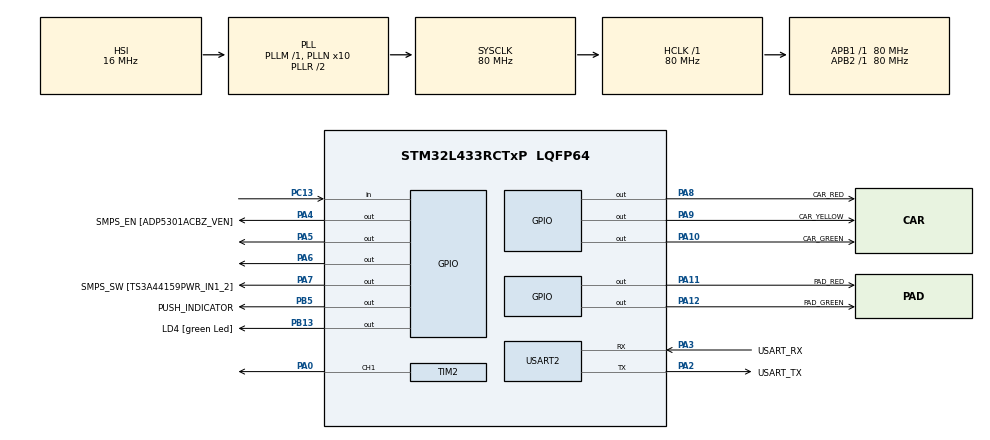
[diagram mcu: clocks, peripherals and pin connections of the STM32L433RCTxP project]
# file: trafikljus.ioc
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Mcu.Family=STM32L4
Mcu.Name=STM32L433RCTxP
Mcu.Package=LQFP64
NVIC.PriorityGroup=NVIC_PRIORITYGROUP_4
PA0.Signal=S_TIM2_CH1
PA10.GPIO_Label=CAR_GREEN
PA10.Signal=GPIO_Output
PA11.GPIO_Label=PAD_RED
PA11.Signal=GPIO_Output
PA12.GPIO_Label=PAD_GREEN
PA12.Signal=GPIO_Output
PA13\ (JTMS-SWDIO).GPIO_Label=TMS
PA13\ (JTMS-SWDIO).Mode=Serial_Wire
PA13\ (JTMS-SWDIO).Signal=SYS_JTMS-SWDIO
PA14\ (JTCK-SWCLK).GPIO_Label=TCK
PA14\ (JTCK-SWCLK).Mode=Serial_Wire
PA14\ (JTCK-SWCLK).Signal=SYS_JTCK-SWCLK
PA2.GPIO_Label=USART_TX
PA2.GPIO_Mode=GPIO_MODE_AF_PP
PA2.GPIO_PuPd=GPIO_NOPULL
PA2.GPIO_Speed=GPIO_SPEED_FREQ_VERY_HIGH
PA2.Mode=Asynchronous
PA2.Signal=USART2_TX
PA3.GPIO_Label=USART_RX
PA3.GPIO_Mode=GPIO_MODE_AF_PP
PA3.GPIO_PuPd=GPIO_NOPULL
PA3.GPIO_Speed=GPIO_SPEED_FREQ_VERY_HIGH
PA3.Mode=Asynchronous
PA3.Signal=USART2_RX
PA4.GPIO_Label=SMPS_EN [ADP5301ACBZ_VEN]
PA4.Signal=GPIO_Output
PA5.GPIO_ModeDefaultOutputPP=GPIO_MODE_OUTPUT_PP
PA5.GPIO_PuPd=GPIO_NOPULL
PA5.GPIO_Speed=GPIO_SPEED_FREQ_LOW
PA5.Signal=GPIO_Output
PA6.Signal=GPIO_Output
PA7.GPIO_Label=SMPS_SW [TS3A44159PWR_IN1_2]
PA7.Signal=GPIO_Output
PA8.GPIO_Label=CAR_RED
PA8.Signal=GPIO_Output
PA9.GPIO_Label=CAR_YELLOW
PA9.Signal=GPIO_Output
PB13.GPIO_Label=LD4 [green Led]
PB13.Signal=GPIO_Output
PB3\ (JTDO-TRACESWO).GPIO_Label=SWO
PB3\ (JTDO-TRACESWO).Signal=SYS_JTDO-SWO
PB5.GPIO_Label=PUSH_INDICATOR
PB5.Signal=GPIO_Output
PC13.Signal=GPIO_Input
PC14-OSC32_IN\ (PC14).Mode=LSE-External-Oscillator
PC14-OSC32_IN\ (PC14).Signal=RCC_OSC32_IN
PC15-OSC32_OUT\ (PC15).Mode=LSE-External-Oscillator
PC15-OSC32_OUT\ (PC15).Signal=RCC_OSC32_OUT
PH0-OSC_IN\ (PH0).GPIO_Label=MCO
PH0-OSC_IN\ (PH0).Mode=HSE-External-Clock-Source
PH0-OSC_IN\ (PH0).Signal=RCC_OSC_IN
PH1-OSC_OUT\ (PH1).Signal=RCC_OSC_OUT
ProjectManager.HeapSize=0x200
ProjectManager.StackSize=0x400
ProjectManager.TargetToolchain=STM32CubeIDE
RCC.ADCFreq_Value=64000000
RCC.AHBFreq_Value=80000000
RCC.APB1Freq_Value=80000000
RCC.APB1TimFreq_Value=80000000
RCC.APB2Freq_Value=80000000
RCC.APB2TimFreq_Value=80000000
RCC.CortexFreq_Value=80000000
RCC.HCLKFreq_Value=80000000
RCC.HSE_VALUE=8000000
RCC.HSI48_VALUE=48000000
RCC.HSI_VALUE=16000000
RCC.MSI_VALUE=4000000
RCC.PLLN=10
RCC.PLLSourceVirtual=RCC_PLLSOURCE_HSI
RCC.PREFETCH_ENABLE=1
RCC.SYSCLKFreq_VALUE=80000000
RCC.SYSCLKSource=RCC_SYSCLKSOURCE_PLLCLK
RCC.USBFreq_Value=64000000
RCC.VCOOutputFreq_Value=160000000
SH.S_TIM2_CH1.0=TIM2_CH1,PWM Generation1 CH1
TIM2.Channel-PWM\ Generation1\ CH1=TIM_CHANNEL_1
USART2.VirtualMode-Asynchronous=VM_ASYNC
VP_TIM2_VS_ClockSourceINT.Mode=Internal
board=NUCLEO-L433RC-P

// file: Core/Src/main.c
/* USER CODE BEGIN Header */
/**
  ******************************************************************************
  * @file           : main.c
  * @brief          : Main program body
  ******************************************************************************
  * @attention
  *
  * Copyright (c) 2026 STMicroelectronics.
  * All rights reserved.
  *
  * This software is licensed under terms that can be found in the LICENSE file
  * in the root directory of this software component.
  * If no LICENSE file comes with this software, it is provided AS-IS.
  *
  ******************************************************************************
  */
/* USER CODE END Header */
#include "main.h"

/* USER CODE BEGIN Includes */
#include "abuzz.h"
/* USER CODE END Includes */

/* USER CODE BEGIN PTD */

// Händelserna som programet kan reagera på
enum event
{
    ev_none,           //inget händer
    ev_button_push,    // knappen trycks
    ev_state_timeout,  // Tiden för nuvarande state har gått ut
    //ev_error = -99     // Ogiltig event
};

// Olika tillstång trafikljuset kan befinna sig i
enum state
{
    s_init,
    s_cars_stopping,
    s_ped_wait,
    s_ped_go,
    s_ped_stopping,
    s_all_red,
    s_car_go,
    s_pushed_wait
};

/* USER CODE END PTD */

TIM_HandleTypeDef htim2;

UART_HandleTypeDef huart2;

/* USER CODE BEGIN PV */
/*// Skapar event-kön som kan lagra upp till 10 events
#define EVQ_SIZE 10

enum event evq[EVQ_SIZE];
int evq_count = 0;     // hur många som ligger i kön
int evq_front_ix = 0;  // var nästa ska hämtas
int evq_rear_ix = 0;   //var nästa ska läggas

uint32_t ticks_left_in_state = 0;
*/
/* USER CODE END PV */

void SystemClock_Config(void);
static void MX_GPIO_Init(void);
static void MX_USART2_UART_Init(void);
static void MX_TIM2_Init(void);
/* USER CODE BEGIN PFP */
void set_traffic_lights(enum state s);
void push_indicator_on(void);
void push_indicator_off(void);
/* USER CODE END PFP */

/* USER CODE BEGIN 0 */
/*void evq_init(void)
{
    for (int i = 0; i < EVQ_SIZE; i++)
    {
        evq[i] = ev_error;
    }
}

void evq_push_back(enum event e)
{
    if (evq_count < EVQ_SIZE)
    {
        evq[evq_rear_ix] = e;
        evq_rear_ix++;
        evq_rear_ix %= EVQ_SIZE;
        evq_count++;
    }
}

// Hämtar och tar bort det äldsta eventet från kön
enum event evq_pop_front(void)
{
    enum event e = ev_none;

    if (evq_count > 0)
    {
        e = evq[evq_front_ix];
        evq[evq_front_ix] = ev_error;
        evq_front_ix++;
        evq_front_ix %= EVQ_SIZE;
        evq_count--;
    }

    return e;
}
*/
// Läser om knappen är tryckt
int is_button_pressed(void)
{
    return HAL_GPIO_ReadPin(B1_GPIO_Port, B1_Pin) == GPIO_PIN_RESET;
}

/* USER CODE END 0 */

int main(void)
{

  /* USER CODE BEGIN 1 */

	// Startar programmet i init-state utan något event
	enum state st = s_init;
	enum event ev = ev_none;

	int curr_press = 0;
	int last_press = 0;

	uint32_t ticks_left_in_state = 0;
	uint32_t curr_tick = 0;
	uint32_t last_tick = 0;

  /* USER CODE END 1 */

  /* MCU Configuration--------------------------------------------------------*/

  /* Reset of all peripherals, Initializes the Flash interface and the Systick. */
  HAL_Init();

  /* Configure the system clock */
  SystemClock_Config();

  /* Initialize all configured peripherals */
  MX_GPIO_Init();
  MX_USART2_UART_Init();
  MX_TIM2_Init();
  /* USER CODE BEGIN 2 */

  HAL_TIM_PWM_Start(&htim2, TIM_CHANNEL_1);
  abuzz_stop();

  //evq_init();
  set_traffic_lights(s_init);

  /* USER CODE END 2 */

  /* Infinite loop */
  /* USER CODE BEGIN WHILE */
  while (1)
  {
	    // Nollställer event i början av varje loop
	    //ev = evq_pop_front();
	  ev = ev_none;

	  // Läs av knappen
	  curr_press = is_button_pressed();

	  // Skapa event när knappen precis har tryckts
	  if (curr_press && !last_press)
	  {
	      ev = ev_button_push;
	  }

	  last_press = curr_press;

	  // Kontrollera tiden
	  curr_tick = HAL_GetTick();

	  if (curr_tick != last_tick)
	  {
	      last_tick = curr_tick;

	      if (ticks_left_in_state > 0)
	      {
	          ticks_left_in_state--;

	          if (ticks_left_in_state == 0)
	          {
	              ev = ev_state_timeout;
	          }
	      }
	  }

        //Bestämmer vad i programmet som ska hända
	    // Logiken och state byte
	    // Hanterar vilket state programmet är i
	    switch (st)
	    {
	        // Startläge
	        case s_init:
	            if (ev == ev_button_push)
	            {
	                ev = ev_none;
	                st = s_ped_wait;
	                ticks_left_in_state = 1000;
	                set_traffic_lights(st);
	            }
	            break;

	        // Väntar innan fotgängarna får grönt
	        case s_ped_wait:
	            if (ev == ev_state_timeout)
	            {
	                ev = ev_none;
	                push_indicator_off();
	                st = s_ped_go;
	                ticks_left_in_state = 5000;
	                set_traffic_lights(st);

	                abuzz_start();
	                abuzz_p_short();
	            }
	            break;

	        // Fotgängarna har grönt
	        case s_ped_go:
	            if (ev == ev_state_timeout)
	            {
	                ev = ev_none;
	                st = s_ped_stopping;
	                ticks_left_in_state = 1000;
	                set_traffic_lights(st);

	                abuzz_p_long();
	            }
	            break;

	        // Fotgängarna stoppas
	        case s_ped_stopping:
	            if (ev == ev_state_timeout)
	            {
	                ev = ev_none;
	                st = s_all_red;
	                ticks_left_in_state = 1000;
	                set_traffic_lights(st);
	            }
	            break;

	        // Bilarna förbereds för grönt
	        case s_all_red:
	            if (ev == ev_state_timeout)
	            {
	                ev = ev_none;
	                st = s_car_go;
	                ticks_left_in_state = 0;
	                set_traffic_lights(st);
	            }
	            break;

	        // Bilarna har grönt och väntar på knapptryck
	        case s_car_go:
	            if (ev == ev_button_push)
	            {
	                ev = ev_none;

	            	push_indicator_on();

	                st = s_pushed_wait;
	                ticks_left_in_state = 2000;
	                set_traffic_lights(st);
	            }
	            break;

	        // Knappen är tryckt men bilarna fortsätter en stund
	        case s_pushed_wait:
	            if (ev == ev_state_timeout)
	            {
	                ev = ev_none;
	                push_indicator_off();
	                st = s_cars_stopping;
	                ticks_left_in_state = 1000;
	                set_traffic_lights(st);
	            }
	            break;

	        // Bilarna stoppas
	        case s_cars_stopping:
	            if (ev == ev_state_timeout)
	            {
	                ev = ev_none;
	                st = s_ped_wait;
	                ticks_left_in_state = 1000;
	                set_traffic_lights(st);

	                abuzz_start();
	                abuzz_p_long();
	            }
	            break;

	        default:
	            break;
	    }

    /* USER CODE END WHILE */

  }
}

void SystemClock_Config(void)
{
  RCC_OscInitTypeDef RCC_OscInitStruct = {0};
  RCC_ClkInitTypeDef RCC_ClkInitStruct = {0};

  /** Configure the main internal regulator output voltage
  */
  if (HAL_PWREx_ControlVoltageScaling(PWR_REGULATOR_VOLTAGE_SCALE1) != HAL_OK)
  {
    Error_Handler();
  }

  /** Initializes the RCC Oscillators according to the specified parameters
  * in the RCC_OscInitTypeDef structure.
  */
  RCC_OscInitStruct.OscillatorType = RCC_OSCILLATORTYPE_HSI;
  RCC_OscInitStruct.HSIState = RCC_HSI_ON;
  RCC_OscInitStruct.HSICalibrationValue = RCC_HSICALIBRATION_DEFAULT;
  RCC_OscInitStruct.PLL.PLLState = RCC_PLL_ON;
  RCC_OscInitStruct.PLL.PLLSource = RCC_PLLSOURCE_HSI;
  RCC_OscInitStruct.PLL.PLLM = 1;
  RCC_OscInitStruct.PLL.PLLN = 10;
  RCC_OscInitStruct.PLL.PLLP = RCC_PLLP_DIV7;
  RCC_OscInitStruct.PLL.PLLQ = RCC_PLLQ_DIV2;
  RCC_OscInitStruct.PLL.PLLR = RCC_PLLR_DIV2;
  if (HAL_RCC_OscConfig(&RCC_OscInitStruct) != HAL_OK)
  {
    Error_Handler();
  }

  /** Initializes the CPU, AHB and APB buses clocks
  */
  RCC_ClkInitStruct.ClockType = RCC_CLOCKTYPE_HCLK|RCC_CLOCKTYPE_SYSCLK
                              |RCC_CLOCKTYPE_PCLK1|RCC_CLOCKTYPE_PCLK2;
  RCC_ClkInitStruct.SYSCLKSource = RCC_SYSCLKSOURCE_PLLCLK;
  RCC_ClkInitStruct.AHBCLKDivider = RCC_SYSCLK_DIV1;
  RCC_ClkInitStruct.APB1CLKDivider = RCC_HCLK_DIV1;
  RCC_ClkInitStruct.APB2CLKDivider = RCC_HCLK_DIV1;

  if (HAL_RCC_ClockConfig(&RCC_ClkInitStruct, FLASH_LATENCY_4) != HAL_OK)
  {
    Error_Handler();
  }
}

static void MX_TIM2_Init(void)
{

  TIM_ClockConfigTypeDef sClockSourceConfig = {0};
  TIM_MasterConfigTypeDef sMasterConfig = {0};
  TIM_OC_InitTypeDef sConfigOC = {0};

  htim2.Instance = TIM2;
  htim2.Init.Prescaler = 0;
  htim2.Init.CounterMode = TIM_COUNTERMODE_UP;
  htim2.Init.Period = 4294967295;
  htim2.Init.ClockDivision = TIM_CLOCKDIVISION_DIV1;
  htim2.Init.AutoReloadPreload = TIM_AUTORELOAD_PRELOAD_DISABLE;
  if (HAL_TIM_Base_Init(&htim2) != HAL_OK)
  {
    Error_Handler();
  }
  sClockSourceConfig.ClockSource = TIM_CLOCKSOURCE_INTERNAL;
  if (HAL_TIM_ConfigClockSource(&htim2, &sClockSourceConfig) != HAL_OK)
  {
    Error_Handler();
  }
  if (HAL_TIM_PWM_Init(&htim2) != HAL_OK)
  {
    Error_Handler();
  }
  sMasterConfig.MasterOutputTrigger = TIM_TRGO_RESET;
  sMasterConfig.MasterSlaveMode = TIM_MASTERSLAVEMODE_DISABLE;
  if (HAL_TIMEx_MasterConfigSynchronization(&htim2, &sMasterConfig) != HAL_OK)
  {
    Error_Handler();
  }
  sConfigOC.OCMode = TIM_OCMODE_PWM1;
  sConfigOC.Pulse = 0;
  sConfigOC.OCPolarity = TIM_OCPOLARITY_HIGH;
  sConfigOC.OCFastMode = TIM_OCFAST_DISABLE;
  if (HAL_TIM_PWM_ConfigChannel(&htim2, &sConfigOC, TIM_CHANNEL_1) != HAL_OK)
  {
    Error_Handler();
  }
  HAL_TIM_MspPostInit(&htim2);

}

static void MX_USART2_UART_Init(void)
{

  huart2.Instance = USART2;
  huart2.Init.BaudRate = 115200;
  huart2.Init.WordLength = UART_WORDLENGTH_8B;
  huart2.Init.StopBits = UART_STOPBITS_1;
  huart2.Init.Parity = UART_PARITY_NONE;
  huart2.Init.Mode = UART_MODE_TX_RX;
  huart2.Init.HwFlowCtl = UART_HWCONTROL_NONE;
  huart2.Init.OverSampling = UART_OVERSAMPLING_16;
  huart2.Init.OneBitSampling = UART_ONE_BIT_SAMPLE_DISABLE;
  huart2.AdvancedInit.AdvFeatureInit = UART_ADVFEATURE_NO_INIT;
  if (HAL_UART_Init(&huart2) != HAL_OK)
  {
    Error_Handler();
  }

}

static void MX_GPIO_Init(void)
{
  GPIO_InitTypeDef GPIO_InitStruct = {0};

  /* GPIO Ports Clock Enable */
  __HAL_RCC_GPIOC_CLK_ENABLE();
  __HAL_RCC_GPIOH_CLK_ENABLE();
  __HAL_RCC_GPIOA_CLK_ENABLE();
  __HAL_RCC_GPIOB_CLK_ENABLE();

  /*Configure GPIO pin Output Level */
  HAL_GPIO_WritePin(GPIOA, SMPS_EN_Pin|GPIO_PIN_5|GPIO_PIN_6|SMPS_SW_Pin
                          |CAR_RED_Pin|CAR_YELLOW_Pin|CAR_GREEN_Pin|PAD_RED_Pin
                          |PAD_GREEN_Pin, GPIO_PIN_RESET);

  /*Configure GPIO pin Output Level */
  HAL_GPIO_WritePin(GPIOB, LD4_Pin|PUSH_INDICATOR_Pin, GPIO_PIN_RESET);

  /*Configure GPIO pin : PC13 */
  GPIO_InitStruct.Pin = GPIO_PIN_13;
  GPIO_InitStruct.Mode = GPIO_MODE_INPUT;
  GPIO_InitStruct.Pull = GPIO_NOPULL;
  HAL_GPIO_Init(GPIOC, &GPIO_InitStruct);

  /*Configure GPIO pins : SMPS_EN_Pin PA5 PA6 SMPS_SW_Pin
                           CAR_RED_Pin CAR_YELLOW_Pin CAR_GREEN_Pin PAD_RED_Pin
                           PAD_GREEN_Pin */
  GPIO_InitStruct.Pin = SMPS_EN_Pin|GPIO_PIN_5|GPIO_PIN_6|SMPS_SW_Pin
                          |CAR_RED_Pin|CAR_YELLOW_Pin|CAR_GREEN_Pin|PAD_RED_Pin
                          |PAD_GREEN_Pin;
  GPIO_InitStruct.Mode = GPIO_MODE_OUTPUT_PP;
  GPIO_InitStruct.Pull = GPIO_NOPULL;
  GPIO_InitStruct.Speed = GPIO_SPEED_FREQ_LOW;
  HAL_GPIO_Init(GPIOA, &GPIO_InitStruct);

  /*Configure GPIO pins : LD4_Pin PUSH_INDICATOR_Pin */
  GPIO_InitStruct.Pin = LD4_Pin|PUSH_INDICATOR_Pin;
  GPIO_InitStruct.Mode = GPIO_MODE_OUTPUT_PP;
  GPIO_InitStruct.Pull = GPIO_NOPULL;
  GPIO_InitStruct.Speed = GPIO_SPEED_FREQ_LOW;
  HAL_GPIO_Init(GPIOB, &GPIO_InitStruct);

}

/* USER CODE BEGIN 4 */
/*
void my_systick_handler(void)
{
    if (ticks_left_in_state > 0)
    {
        ticks_left_in_state--;

        if (ticks_left_in_state == 0)
        {
            evq_push_back(ev_state_timeout);
        }
    }
}
*/

void push_indicator_on(void)
{
    HAL_GPIO_WritePin(PUSH_INDICATOR_GPIO_Port, PUSH_INDICATOR_Pin, GPIO_PIN_SET);
}

void push_indicator_off(void)
{
    HAL_GPIO_WritePin(PUSH_INDICATOR_GPIO_Port, PUSH_INDICATOR_Pin, GPIO_PIN_RESET);
}

// styr lamporna beroende på state de bytts till
//funktion som styr ljusen
//state bestämmer vilka lampor som ska lysa
//gpio pin set tänder lampan, reset släcker lampan
void set_traffic_lights(enum state s)
{
    switch (s)
    {
        // Startläge: alla lampor lyser
        case s_init:
            HAL_GPIO_WritePin(CAR_RED_GPIO_Port, CAR_RED_Pin, GPIO_PIN_SET);
            HAL_GPIO_WritePin(CAR_YELLOW_GPIO_Port, CAR_YELLOW_Pin, GPIO_PIN_SET);
            HAL_GPIO_WritePin(CAR_GREEN_GPIO_Port, CAR_GREEN_Pin, GPIO_PIN_SET);
            HAL_GPIO_WritePin(PAD_RED_GPIO_Port, PAD_RED_Pin, GPIO_PIN_SET);
            HAL_GPIO_WritePin(PAD_GREEN_GPIO_Port, PAD_GREEN_Pin, GPIO_PIN_SET);
            break;

        // Bilar grönt, fotgängare rött
        case s_car_go:
            HAL_GPIO_WritePin(CAR_RED_GPIO_Port, CAR_RED_Pin, GPIO_PIN_RESET);
            HAL_GPIO_WritePin(CAR_YELLOW_GPIO_Port, CAR_YELLOW_Pin, GPIO_PIN_RESET);
            HAL_GPIO_WritePin(CAR_GREEN_GPIO_Port, CAR_GREEN_Pin, GPIO_PIN_SET);
            HAL_GPIO_WritePin(PAD_RED_GPIO_Port, PAD_RED_Pin, GPIO_PIN_SET);
            HAL_GPIO_WritePin(PAD_GREEN_GPIO_Port, PAD_GREEN_Pin, GPIO_PIN_RESET);
            break;

        // Bilar fortsätter ha grönt efter knapptryck
        case s_pushed_wait:
            HAL_GPIO_WritePin(CAR_RED_GPIO_Port, CAR_RED_Pin, GPIO_PIN_RESET);
            HAL_GPIO_WritePin(CAR_YELLOW_GPIO_Port, CAR_YELLOW_Pin, GPIO_PIN_RESET);
            HAL_GPIO_WritePin(CAR_GREEN_GPIO_Port, CAR_GREEN_Pin, GPIO_PIN_SET);
            HAL_GPIO_WritePin(PAD_RED_GPIO_Port, PAD_RED_Pin, GPIO_PIN_SET);
            HAL_GPIO_WritePin(PAD_GREEN_GPIO_Port, PAD_GREEN_Pin, GPIO_PIN_RESET);
            break;

        // Bilar gult, fotgängare rött
        case s_cars_stopping:
            HAL_GPIO_WritePin(CAR_RED_GPIO_Port, CAR_RED_Pin, GPIO_PIN_RESET);
            HAL_GPIO_WritePin(CAR_YELLOW_GPIO_Port, CAR_YELLOW_Pin, GPIO_PIN_SET);
            HAL_GPIO_WritePin(CAR_GREEN_GPIO_Port, CAR_GREEN_Pin, GPIO_PIN_RESET);
            HAL_GPIO_WritePin(PAD_RED_GPIO_Port, PAD_RED_Pin, GPIO_PIN_SET);
            HAL_GPIO_WritePin(PAD_GREEN_GPIO_Port, PAD_GREEN_Pin, GPIO_PIN_RESET);
            break;

        // Både bilar och fotgängare har rött
        case s_ped_wait:
            HAL_GPIO_WritePin(CAR_RED_GPIO_Port, CAR_RED_Pin, GPIO_PIN_SET);
            HAL_GPIO_WritePin(CAR_YELLOW_GPIO_Port, CAR_YELLOW_Pin, GPIO_PIN_RESET);
            HAL_GPIO_WritePin(CAR_GREEN_GPIO_Port, CAR_GREEN_Pin, GPIO_PIN_RESET);
            HAL_GPIO_WritePin(PAD_RED_GPIO_Port, PAD_RED_Pin, GPIO_PIN_SET);
            HAL_GPIO_WritePin(PAD_GREEN_GPIO_Port, PAD_GREEN_Pin, GPIO_PIN_RESET);
            break;

        // Fotgängare grönt, bilar rött
        case s_ped_go:
            HAL_GPIO_WritePin(CAR_RED_GPIO_Port, CAR_RED_Pin, GPIO_PIN_SET);
            HAL_GPIO_WritePin(CAR_YELLOW_GPIO_Port, CAR_YELLOW_Pin, GPIO_PIN_RESET);
            HAL_GPIO_WritePin(CAR_GREEN_GPIO_Port, CAR_GREEN_Pin, GPIO_PIN_RESET);
            HAL_GPIO_WritePin(PAD_RED_GPIO_Port, PAD_RED_Pin, GPIO_PIN_RESET);
            HAL_GPIO_WritePin(PAD_GREEN_GPIO_Port, PAD_GREEN_Pin, GPIO_PIN_SET);
            break;

        // Fotgängare stoppas
        case s_ped_stopping:
            HAL_GPIO_WritePin(CAR_RED_GPIO_Port, CAR_RED_Pin, GPIO_PIN_SET);
            HAL_GPIO_WritePin(CAR_YELLOW_GPIO_Port, CAR_YELLOW_Pin, GPIO_PIN_RESET);
            HAL_GPIO_WritePin(CAR_GREEN_GPIO_Port, CAR_GREEN_Pin, GPIO_PIN_RESET);
            HAL_GPIO_WritePin(PAD_RED_GPIO_Port, PAD_RED_Pin, GPIO_PIN_SET);
            HAL_GPIO_WritePin(PAD_GREEN_GPIO_Port, PAD_GREEN_Pin, GPIO_PIN_RESET);
            break;

        // Bilar rött + gult, fotgängare rött
        case s_all_red:
            HAL_GPIO_WritePin(CAR_RED_GPIO_Port, CAR_RED_Pin, GPIO_PIN_SET);
            HAL_GPIO_WritePin(CAR_YELLOW_GPIO_Port, CAR_YELLOW_Pin, GPIO_PIN_SET);
            HAL_GPIO_WritePin(CAR_GREEN_GPIO_Port, CAR_GREEN_Pin, GPIO_PIN_RESET);
            HAL_GPIO_WritePin(PAD_RED_GPIO_Port, PAD_RED_Pin, GPIO_PIN_SET);
            HAL_GPIO_WritePin(PAD_GREEN_GPIO_Port, PAD_GREEN_Pin, GPIO_PIN_RESET);
            break;

        default:
            break;
    }
}
/*
// Körs när B1-knappen skapar ett interrupt
void HAL_GPIO_EXTI_Callback(uint16_t GPIO_Pin)
{
    if (GPIO_Pin == B1_Pin)
    {
    	evq_push_back(ev_button_push);
    }
}
*/
/* USER CODE END 4 */

void Error_Handler(void)
{
  __disable_irq();
  while (1)
  {
  }
}
